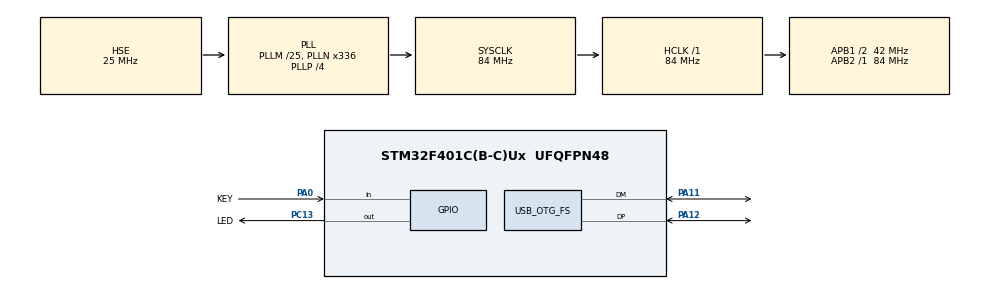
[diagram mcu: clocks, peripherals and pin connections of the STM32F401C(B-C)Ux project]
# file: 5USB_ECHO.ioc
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Mcu.Family=STM32F4
Mcu.Name=STM32F401C(B-C)Ux
Mcu.Package=UFQFPN48
NVIC.OTG_FS_IRQn=true\:0\:0\:false\:false\:true\:false\:true
NVIC.PriorityGroup=NVIC_PRIORITYGROUP_4
PA0-WKUP.GPIO_Label=KEY
PA0-WKUP.GPIO_PuPd=GPIO_PULLUP
PA0-WKUP.Signal=GPIO_Input
PA11.Mode=Device_Only
PA11.Signal=USB_OTG_FS_DM
PA12.Mode=Device_Only
PA12.Signal=USB_OTG_FS_DP
PA13.Mode=Serial_Wire
PA13.Signal=SYS_JTMS-SWDIO
PA14.Mode=Serial_Wire
PA14.Signal=SYS_JTCK-SWCLK
PC13-ANTI_TAMP.GPIO_Label=LED
PC13-ANTI_TAMP.PinState=GPIO_PIN_SET
PC13-ANTI_TAMP.Signal=GPIO_Output
PH0\ -\ OSC_IN.Mode=HSE-External-Oscillator
PH0\ -\ OSC_IN.Signal=RCC_OSC_IN
PH1\ -\ OSC_OUT.Mode=HSE-External-Oscillator
PH1\ -\ OSC_OUT.Signal=RCC_OSC_OUT
ProjectManager.HeapSize=0x200
ProjectManager.StackSize=0x400
ProjectManager.TargetToolchain=STM32CubeIDE
RCC.48MHZClocksFreq_Value=48000000
RCC.AHBFreq_Value=84000000
RCC.APB1CLKDivider=RCC_HCLK_DIV2
RCC.APB1Freq_Value=42000000
RCC.APB1TimFreq_Value=84000000
RCC.APB2Freq_Value=84000000
RCC.APB2TimFreq_Value=84000000
RCC.CortexFreq_Value=84000000
RCC.HCLKFreq_Value=84000000
RCC.HSE_VALUE=25000000
RCC.HSI_VALUE=16000000
RCC.LSE_VALUE=32768
RCC.PLLM=25
RCC.PLLN=336
RCC.PLLP=RCC_PLLP_DIV4
RCC.PLLQ=7
RCC.SYSCLKFreq_VALUE=84000000
RCC.SYSCLKSource=RCC_SYSCLKSOURCE_PLLCLK
RCC.VCOOutputFreq_Value=336000000
USB_DEVICE.CLASS_NAME_FS=CDC
USB_DEVICE.VirtualMode=Cdc
USB_DEVICE.VirtualModeFS=Cdc_FS
USB_OTG_FS.VirtualMode=Device_Only
VP_USB_DEVICE_VS_USB_DEVICE_CDC_FS.Mode=CDC_FS
board=custom

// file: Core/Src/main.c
/* USER CODE BEGIN Header */
/**
  ******************************************************************************
  * @file           : main.c
  * @brief          : Main program body
  ******************************************************************************
  * @attention
  *
  * Copyright (c) 2022 STMicroelectronics.
  * All rights reserved.
  *
  * This software is licensed under terms that can be found in the LICENSE file
  * in the root directory of this software component.
  * If no LICENSE file comes with this software, it is provided AS-IS.
  *
  ******************************************************************************
  */
/* USER CODE END Header */
#include "main.h"
#include "usb_device.h"

/* USER CODE BEGIN Includes */
#include "string.h"
/* USER CODE END Includes */

/* USER CODE BEGIN PV */
uint8_t buffer[64]={NULL};
uint8_t *data = "Hello ARM\n";
uint8_t sFlag = 0;
/* USER CODE END PV */

void SystemClock_Config(void);
static void MX_GPIO_Init(void);

/* USER CODE BEGIN 0 */
void HAL_IncTick(void) // HAL_getTick()
{
    uwTick += uwTickFreq;
    if((uwTick % 1000)==0) //1000mS tick
  {
        sFlag=1;//HAL_GPIO_TogglePin(LED_GPIO_Port, LED_Pin);
  }
}
/* USER CODE END 0 */

int main(void)
{

  /* MCU Configuration--------------------------------------------------------*/

  /* Reset of all peripherals, Initializes the Flash interface and the Systick. */
  HAL_Init();

  /* Configure the system clock */
  SystemClock_Config();

  /* Initialize all configured peripherals */
  MX_GPIO_Init();
  MX_USB_DEVICE_Init();

  /* Infinite loop */
  /* USER CODE BEGIN WHILE */
  while (1)
  {
    if(buffer[0]=='1')
    {
    	HAL_GPIO_WritePin(LED_GPIO_Port, LED_Pin, GPIO_PIN_RESET);
    } else {
    	HAL_GPIO_WritePin(LED_GPIO_Port, LED_Pin, GPIO_PIN_SET);
    }

    if(sFlag){
    	sFlag = 0;
    	CDC_Transmit_FS(data, strlen(data));
    }
	  /* USER CODE END WHILE */

    /* USER CODE BEGIN 3 */
    __NOP();
  }
  /* USER CODE END 3 */
}

void SystemClock_Config(void)
{
  RCC_OscInitTypeDef RCC_OscInitStruct = {0};
  RCC_ClkInitTypeDef RCC_ClkInitStruct = {0};

  /** Configure the main internal regulator output voltage
  */
  __HAL_RCC_PWR_CLK_ENABLE();
  __HAL_PWR_VOLTAGESCALING_CONFIG(PWR_REGULATOR_VOLTAGE_SCALE2);
  /** Initializes the RCC Oscillators according to the specified parameters
  * in the RCC_OscInitTypeDef structure.
  */
  RCC_OscInitStruct.OscillatorType = RCC_OSCILLATORTYPE_HSE;
  RCC_OscInitStruct.HSEState = RCC_HSE_ON;
  RCC_OscInitStruct.PLL.PLLState = RCC_PLL_ON;
  RCC_OscInitStruct.PLL.PLLSource = RCC_PLLSOURCE_HSE;
  RCC_OscInitStruct.PLL.PLLM = 25;
  RCC_OscInitStruct.PLL.PLLN = 336;
  RCC_OscInitStruct.PLL.PLLP = RCC_PLLP_DIV4;
  RCC_OscInitStruct.PLL.PLLQ = 7;
  if (HAL_RCC_OscConfig(&RCC_OscInitStruct) != HAL_OK)
  {
    Error_Handler();
  }
  /** Initializes the CPU, AHB and APB buses clocks
  */
  RCC_ClkInitStruct.ClockType = RCC_CLOCKTYPE_HCLK|RCC_CLOCKTYPE_SYSCLK
                              |RCC_CLOCKTYPE_PCLK1|RCC_CLOCKTYPE_PCLK2;
  RCC_ClkInitStruct.SYSCLKSource = RCC_SYSCLKSOURCE_PLLCLK;
  RCC_ClkInitStruct.AHBCLKDivider = RCC_SYSCLK_DIV1;
  RCC_ClkInitStruct.APB1CLKDivider = RCC_HCLK_DIV2;
  RCC_ClkInitStruct.APB2CLKDivider = RCC_HCLK_DIV1;

  if (HAL_RCC_ClockConfig(&RCC_ClkInitStruct, FLASH_LATENCY_2) != HAL_OK)
  {
    Error_Handler();
  }
}

static void MX_GPIO_Init(void)
{
  GPIO_InitTypeDef GPIO_InitStruct = {0};

  /* GPIO Ports Clock Enable */
  __HAL_RCC_GPIOC_CLK_ENABLE();
  __HAL_RCC_GPIOH_CLK_ENABLE();
  __HAL_RCC_GPIOA_CLK_ENABLE();

  /*Configure GPIO pin Output Level */
  HAL_GPIO_WritePin(LED_GPIO_Port, LED_Pin, GPIO_PIN_SET);

  /*Configure GPIO pin : LED_Pin */
  GPIO_InitStruct.Pin = LED_Pin;
  GPIO_InitStruct.Mode = GPIO_MODE_OUTPUT_PP;
  GPIO_InitStruct.Pull = GPIO_NOPULL;
  GPIO_InitStruct.Speed = GPIO_SPEED_FREQ_LOW;
  HAL_GPIO_Init(LED_GPIO_Port, &GPIO_InitStruct);

  /*Configure GPIO pin : KEY_Pin */
  GPIO_InitStruct.Pin = KEY_Pin;
  GPIO_InitStruct.Mode = GPIO_MODE_INPUT;
  GPIO_InitStruct.Pull = GPIO_PULLUP;
  HAL_GPIO_Init(KEY_GPIO_Port, &GPIO_InitStruct);

}

void Error_Handler(void)
{
  __disable_irq();
  while (1)
  {
  }
}
